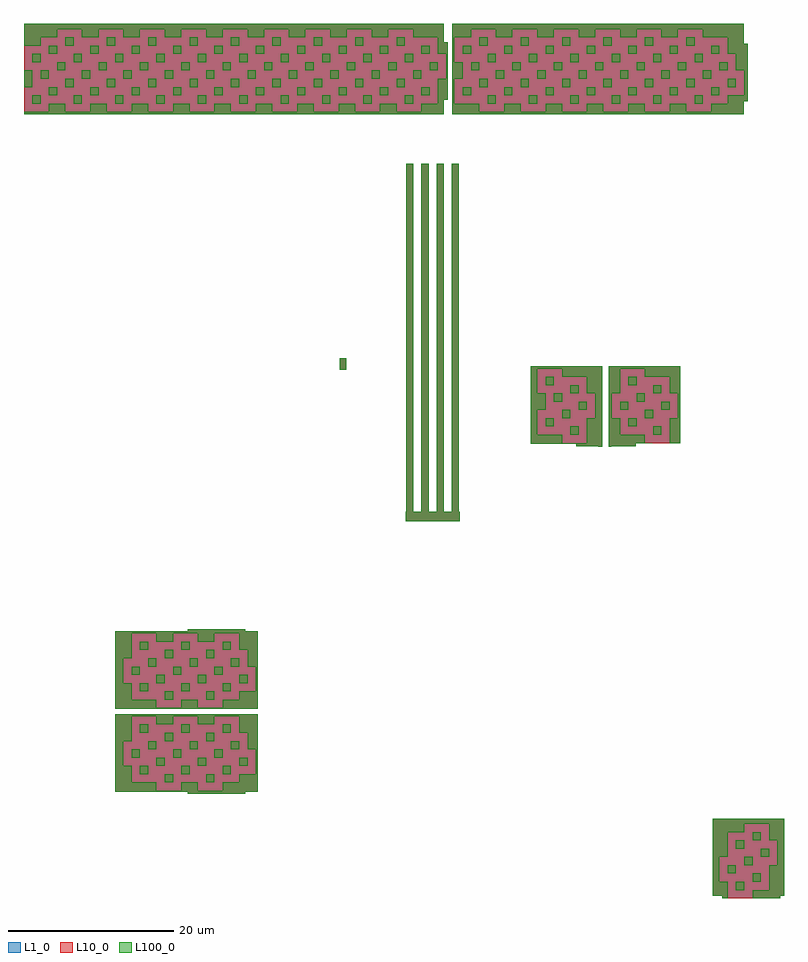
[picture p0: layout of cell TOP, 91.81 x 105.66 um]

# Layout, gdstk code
import gdstk
lib = gdstk.Library(unit=1e-6, precision=1e-09)
def R(c, l, rs):  # rectangles x0, y0, x1, y1
    for r in rs: c.add(gdstk.rectangle(r[:2], r[2:], *l))
def A(c, l, x, y, w, h, nx, ny, dx, dy):  # array of equal rectangles
    R(c, l, [(x+i*dx, y+j*dy, x+i*dx+w, y+j*dy+h) for i in range(nx) for j in range(ny)])
def P(c, l, *ps):  # polygons
    for p in ps: c.add(gdstk.Polygon(p, *l))
L1_0 = (1, 0)
L10_0 = (10, 0)
L100_0 = (100, 0)

pat1 = lib.new_cell('PAT1')
R(pat1, L100_0, [(0,0,1,1)])

top = lib.new_cell('TOP')
R(top, L1_0, [(38.14,63.84,38.95,65.24)])
P(top, L1_0, [(0,94.703),(0,105.656),(50.732,105.656),(50.732,103.431),(51.214,103.431),(51.214,96.462),(50.732,96.462),(50.732,94.703)],
  [(51.75,94.703),(51.75,105.656),(86.941,105.656),(86.941,103.259),(87.423,103.259),(87.423,96.29),(86.941,96.29),(86.941,94.703)],
  [(70.622,54.579),(70.622,64.274),(79.247,64.274),(79.247,54.959),(73.881,54.959),(73.881,54.614),(70.949,54.614),(70.949,54.579)],
  [(84.353,0),(84.353,0.311),(83.18,0.311),(83.18,9.626),(91.805,9.626),(91.805,0.311),(91.322,0.311),(91.322,0)],
  [(11.006,22.874),(11.006,32.24),(19.768,32.24),(19.768,32.499),(26.738,32.499),(26.738,32.24),(28.256,32.24),(28.256,22.874)],
  [(46.108,45.575),(46.108,46.679),(46.178,46.679),(46.178,88.734),(47.04,88.734),(47.04,46.679),(48.006,46.679),(48.006,88.734),(48.868,88.734),(48.868,46.679),(49.834,46.679),(49.834,88.734),(50.697,88.734),(50.697,46.679),(51.663,46.679),(51.663,88.734),(52.526,88.734),(52.526,46.679),(52.629,46.679),(52.629,45.575)],
  [(19.768,12.609),(19.768,12.869),(11.006,12.869),(11.006,22.235),(28.256,22.235),(28.256,12.869),(26.738,12.869),(26.738,12.609)],
  [(69.396,54.579),(69.396,54.614),(66.705,54.614),(66.705,54.906),(61.203,54.906),(61.203,64.274),(69.828,64.274),(69.828,54.579)])
R(top, L10_0, [(38.14,63.84,38.95,65.24)])
P(top, L10_0, [(0,94.703),(0,105.656),(50.732,105.656),(50.732,103.431),(51.214,103.431),(51.214,96.462),(50.732,96.462),(50.732,94.703)],
  [(51.75,94.703),(51.75,105.656),(86.941,105.656),(86.941,103.259),(87.423,103.259),(87.423,96.29),(86.941,96.29),(86.941,94.703)],
  [(70.622,54.579),(70.622,64.274),(79.247,64.274),(79.247,54.959),(73.881,54.959),(73.881,54.614),(70.949,54.614),(70.949,54.579)],
  [(84.353,0),(84.353,0.311),(83.18,0.311),(83.18,9.626),(91.805,9.626),(91.805,0.311),(91.322,0.311),(91.322,0)],
  [(11.006,22.874),(11.006,32.24),(19.768,32.24),(19.768,32.499),(26.738,32.499),(26.738,32.24),(28.256,32.24),(28.256,22.874)],
  [(46.108,45.575),(46.108,46.679),(46.178,46.679),(46.178,88.734),(47.04,88.734),(47.04,46.679),(48.006,46.679),(48.006,88.734),(48.868,88.734),(48.868,46.679),(49.834,46.679),(49.834,88.734),(50.697,88.734),(50.697,46.679),(51.663,46.679),(51.663,88.734),(52.526,88.734),(52.526,46.679),(52.629,46.679),(52.629,45.575)],
  [(19.768,12.609),(19.768,12.869),(11.006,12.869),(11.006,22.235),(28.256,22.235),(28.256,12.869),(26.738,12.869),(26.738,12.609)],
  [(69.396,54.579),(69.396,54.614),(66.705,54.614),(66.705,54.906),(61.203,54.906),(61.203,64.274),(69.828,64.274),(69.828,54.579)])
A(top, L100_0, 46.178, 50.328, 0.862, 5, 1, 7, 0, 5)
A(top, L100_0, 48.006, 50.328, 0.862, 5, 1, 7, 0, 5)
A(top, L100_0, 49.834, 50.328, 0.863, 5, 1, 7, 0, 5)
A(top, L100_0, 51.663, 50.328, 0.863, 5, 1, 7, 0, 5)
A(top, L100_0, 3, 95.328, 2, 0.672, 9, 1, 5, 0)
A(top, L100_0, 58, 95.328, 2, 0.672, 5, 1, 5, 0)
A(top, L100_0, 0.903, 105.328, 5, 0.328, 9, 1, 5, 0)
A(top, L100_0, 55.903, 105.328, 5, 0.328, 6, 1, 5, 0)
R(top, L100_0, [(88,0,90.903,0.328), (70.622,54.579,70.903,55.328), (70.622,55.328,70.903,60.328), (70.622,60.328,70.903,64.274), (38.14,63.84,38.95,65.24), (46.178,85.328,47.04,88.734), (48.006,85.328,48.868,88.734), (49.834,85.328,50.697,88.734), (51.663,85.328,52.526,88.734), (0,94.703,0.903,95), (85.903,94.703,86.941,95.328), (0,98,0.903,100), (0.903,98,1,100), (0,103,0.903,105.328), (0,105.328,0.903,105.656), (45.903,105.328,50.732,105.656), (51.75,105.328,55.903,105.656), (85.903,105.328,86.941,105.656)])
P(top, L100_0, [(40.903,94.703),(40.903,95),(43,95),(43,95.328),(45,95.328),(45,95),(45.903,95),(45.903,94.703)],
  [(42,104),(42,105),(40.903,105),(40.903,105.328),(45.903,105.328),(45.903,105),(44,105),(44,104)],
  [(45.903,94.703),(45.903,95),(48,95),(48,95.328),(50.732,95.328),(50.732,94.703)],
  [(48,95.328),(48,96),(50,96),(50,99),(50.903,99),(50.903,96.462),(50.732,96.462),(50.732,95.328)],
  [(50,102),(50,104),(47,104),(47,105),(45.903,105),(45.903,105.328),(50.732,105.328),(50.732,103.431),(50.903,103.431),(50.903,102)],
  [(51.75,94.703),(51.75,95.328),(55,95.328),(55,95),(55.903,95),(55.903,94.703)],
  [(50.903,96.462),(50.903,99),(51,99),(51,100.328),(51.214,100.328),(51.214,96.462)],
  [(51.75,95.328),(51.75,100.328),(53,100.328),(53,99),(52,99),(52,96),(55,96),(55,95.328)],
  [(51,100.328),(51,102),(50.903,102),(50.903,103.431),(51.214,103.431),(51.214,100.328)],
  [(51.75,100.328),(51.75,105.328),(55.903,105.328),(55.903,105),(54,105),(54,104),(52,104),(52,101),(53,101),(53,100.328)],
  [(55.903,94.703),(55.903,95),(58,95),(58,95.328),(60,95.328),(60,95),(60.903,95),(60.903,94.703)],
  [(57,104),(57,105),(55.903,105),(55.903,105.328),(60.903,105.328),(60.903,105),(59,105),(59,104)],
  [(61.203,54.906),(61.203,55.328),(65,55.328),(65,55),(65.903,55),(65.903,54.906)],
  [(61.203,55.328),(61.203,60.328),(63,60.328),(63,59),(62,59),(62,56),(65,56),(65,55.328)],
  [(61.203,60.328),(61.203,64.274),(65.903,64.274),(65.903,63),(65,63),(65,64),(62,64),(62,61),(63,61),(63,60.328)],
  [(60.903,94.703),(60.903,95),(63,95),(63,95.328),(65,95.328),(65,95),(65.903,95),(65.903,94.703)],
  [(62,104),(62,105),(60.903,105),(60.903,105.328),(65.903,105.328),(65.903,105),(64,105),(64,104)],
  [(69.396,54.579),(69.396,54.614),(66.705,54.614),(66.705,54.906),(65.903,54.906),(65.903,55),(68,55),(68,55.328),(69.828,55.328),(69.828,54.579)],
  [(68,55.328),(68,58),(69,58),(69,60.328),(69.828,60.328),(69.828,55.328)],
  [(69,60.328),(69,61),(68,61),(68,63),(65.903,63),(65.903,64.274),(69.828,64.274),(69.828,60.328)],
  [(65.903,94.703),(65.903,95),(68,95),(68,95.328),(70,95.328),(70,95),(70.903,95),(70.903,94.703)],
  [(67,104),(67,105),(65.903,105),(65.903,105.328),(70.903,105.328),(70.903,105),(69,105),(69,104)],
  [(70.903,54.579),(70.903,55.328),(75,55.328),(75,55),(75.903,55),(75.903,54.959),(73.881,54.959),(73.881,54.614),(70.949,54.614),(70.949,54.579)],
  [(70.903,55.328),(70.903,60.328),(71,60.328),(71,58),(72,58),(72,56),(75,56),(75,55.328)],
  [(70.903,60.328),(70.903,64.274),(75.903,64.274),(75.903,63),(75,63),(75,64),(72,64),(72,61),(71,61),(71,60.328)],
  [(70.903,94.703),(70.903,95),(73,95),(73,95.328),(75,95.328),(75,95),(75.903,95),(75.903,94.703)],
  [(72,104),(72,105),(70.903,105),(70.903,105.328),(75.903,105.328),(75.903,105),(74,105),(74,104)],
  [(75.903,54.959),(75.903,55),(78,55),(78,55.328),(79.247,55.328),(79.247,54.959)],
  [(78,55.328),(78,58),(79,58),(79,60.328),(79.247,60.328),(79.247,55.328)],
  [(79,60.328),(79,61),(78,61),(78,63),(75.903,63),(75.903,64.274),(79.247,64.274),(79.247,60.328)],
  [(75.903,94.703),(75.903,95),(78,95),(78,95.328),(80,95.328),(80,95),(80.903,95),(80.903,94.703)],
  [(77,104),(77,105),(75.903,105),(75.903,105.328),(80.903,105.328),(80.903,105),(79,105),(79,104)],
  [(80.903,94.703),(80.903,95),(83,95),(83,95.328),(85.903,95.328),(85.903,94.703)],
  [(83,95.328),(83,96),(85,96),(85,97),(85.903,97),(85.903,95.328)],
  [(85,102),(85,104),(82,104),(82,105),(80.903,105),(80.903,105.328),(85.903,105.328),(85.903,102)],
  [(85.903,95.328),(85.903,97),(87,97),(87,100),(86,100),(86,100.328),(87.423,100.328),(87.423,96.29),(86.941,96.29),(86.941,95.328)],
  [(86,100.328),(86,102),(85.903,102),(85.903,105.328),(86.941,105.328),(86.941,103.259),(87.423,103.259),(87.423,100.328)],
  [(7,104),(7,105),(5.903,105),(5.903,105.328),(10.903,105.328),(10.903,105),(9,105),(9,104)],
  [(10.903,94.703),(10.903,95),(13,95),(13,95.328),(15,95.328),(15,95),(15.903,95),(15.903,94.703)],
  [(12,104),(12,105),(10.903,105),(10.903,105.328),(15.903,105.328),(15.903,105),(14,105),(14,104)],
  [(15.903,94.703),(15.903,95),(18,95),(18,95.328),(20,95.328),(20,95),(20.903,95),(20.903,94.703)],
  [(17,104),(17,105),(15.903,105),(15.903,105.328),(20.903,105.328),(20.903,105),(19,105),(19,104)],
  [(20.903,94.703),(20.903,95),(23,95),(23,95.328),(25,95.328),(25,95),(25.903,95),(25.903,94.703)],
  [(22,104),(22,105),(20.903,105),(20.903,105.328),(25.903,105.328),(25.903,105),(24,105),(24,104)],
  [(25.903,94.703),(25.903,95),(28,95),(28,95.328),(30,95.328),(30,95),(30.903,95),(30.903,94.703)],
  [(27,104),(27,105),(25.903,105),(25.903,105.328),(30.903,105.328),(30.903,105),(29,105),(29,104)],
  [(30.903,94.703),(30.903,95),(33,95),(33,95.328),(35,95.328),(35,95),(35.903,95),(35.903,94.703)],
  [(32,104),(32,105),(30.903,105),(30.903,105.328),(35.903,105.328),(35.903,105),(34,105),(34,104)],
  [(35.903,94.703),(35.903,95),(38,95),(38,95.328),(40,95.328),(40,95),(40.903,95),(40.903,94.703)],
  [(37,104),(37,105),(35.903,105),(35.903,105.328),(40.903,105.328),(40.903,105),(39,105),(39,104)],
  [(0.903,94.703),(0.903,95),(3,95),(3,95.328),(5,95.328),(5,95),(5.903,95),(5.903,94.703)],
  [(0.903,103),(0.903,105.328),(5.903,105.328),(5.903,105),(4,105),(4,104),(2,104),(2,103)],
  [(5.903,94.703),(5.903,95),(8,95),(8,95.328),(10,95.328),(10,95),(10.903,95),(10.903,94.703)],
  [(11.006,25.328),(11.006,30.328),(13,30.328),(13,29),(12,29),(12,26),(13,26),(13,25.328)],
  [(11.006,30.328),(11.006,32.24),(15.903,32.24),(15.903,32),(13,32),(13,30.328)],
  [(11.006,12.869),(11.006,15.328),(13,15.328),(13,14),(15.903,14),(15.903,12.869)],
  [(11.006,15.328),(11.006,20.328),(13,20.328),(13,19),(12,19),(12,16),(13,16),(13,15.328)],
  [(20.903,12.609),(20.903,14),(21,14),(21,13),(24,13),(24,14),(25.903,14),(25.903,12.609)],
  [(21,21),(21,22),(20.903,22),(20.903,22.235),(25.903,22.235),(25.903,22),(23,22),(23,21)],
  [(20.903,22.874),(20.903,24),(21,24),(21,23),(24,23),(24,24),(25.903,24),(25.903,22.874)],
  [(21,31),(21,32),(20.903,32),(20.903,32.499),(25.903,32.499),(25.903,32),(23,32),(23,31)],
  [(11.006,20.328),(11.006,22.235),(15.903,22.235),(15.903,22),(13,22),(13,20.328)],
  [(11.006,22.874),(11.006,25.328),(13,25.328),(13,24),(15.903,24),(15.903,22.874)],
  [(19.768,12.609),(19.768,12.869),(15.903,12.869),(15.903,14),(16,14),(16,13),(19,13),(19,14),(20.903,14),(20.903,12.609)],
  [(16,21),(16,22),(15.903,22),(15.903,22.235),(20.903,22.235),(20.903,22),(18,22),(18,21)],
  [(25.903,12.609),(25.903,14),(26,14),(26,15),(28,15),(28,15.328),(28.256,15.328),(28.256,12.869),(26.738,12.869),(26.738,12.609)],
  [(28,15.328),(28,18),(27,18),(27,20),(26,20),(26,20.328),(28.256,20.328),(28.256,15.328)],
  [(26,20.328),(26,22),(25.903,22),(25.903,22.235),(28.256,22.235),(28.256,20.328)],
  [(25.903,22.874),(25.903,24),(26,24),(26,25),(28,25),(28,25.328),(28.256,25.328),(28.256,22.874)],
  [(28,25.328),(28,28),(27,28),(27,30),(26,30),(26,30.328),(28.256,30.328),(28.256,25.328)],
  [(26,30.328),(26,32),(25.903,32),(25.903,32.499),(26.738,32.499),(26.738,32.24),(28.256,32.24),(28.256,30.328)],
  [(15.903,22.874),(15.903,24),(16,24),(16,23),(19,23),(19,24),(20.903,24),(20.903,22.874)],
  [(16,31),(16,32),(15.903,32),(15.903,32.24),(19.768,32.24),(19.768,32.499),(20.903,32.499),(20.903,32),(18,32),(18,31)],
  [(83.18,0.328),(83.18,5.328),(85,5.328),(85,5),(84,5),(84,2),(85,2),(85,0.328)],
  [(88,0.328),(88,1),(90,1),(90,4),(90.903,4),(90.903,0.328)],
  [(90,7),(90,9),(87,9),(87,8),(85.903,8),(85.903,9.626),(90.903,9.626),(90.903,7)],
  [(83.18,5.328),(83.18,9.626),(85.903,9.626),(85.903,8),(85,8),(85,5.328)],
  [(50.903,45.575),(50.903,46.679),(51.663,46.679),(51.663,50.328),(52.526,50.328),(52.526,46.679),(52.629,46.679),(52.629,45.575)],
  [(46.108,45.575),(46.108,46.679),(46.178,46.679),(46.178,50.328),(47.04,50.328),(47.04,46.679),(48.006,46.679),(48.006,50.328),(48.868,50.328),(48.868,46.679),(49.834,46.679),(49.834,50.328),(50.697,50.328),(50.697,46.679),(50.903,46.679),(50.903,45.575)],
  [(84.353,0),(84.353,0.311),(83.18,0.311),(83.18,0.328),(85,0.328),(85,0)],
  [(90.903,0),(90.903,0.328),(91.805,0.328),(91.805,0.311),(91.322,0.311),(91.322,0)],
  [(90.903,0.328),(90.903,4),(91,4),(91,5.328),(91.805,5.328),(91.805,0.328)],
  [(91,5.328),(91,7),(90.903,7),(90.903,9.626),(91.805,9.626),(91.805,5.328)])
r = gdstk.Reference(pat1, (41,96)); r.repetition = gdstk.Repetition(2, 1, v1=(5,0), v2=(0,0)); top.add(r)
r = gdstk.Reference(pat1, (41,96)); r.repetition = gdstk.Repetition(2, 2, v1=(5,0), v2=(0,5)); top.add(r)
r = gdstk.Reference(pat1, (40,98)); r.repetition = gdstk.Repetition(2, 1, v1=(5,0), v2=(0,0)); top.add(r)
r = gdstk.Reference(pat1, (41,101)); r.repetition = gdstk.Repetition(2, 1, v1=(5,0), v2=(0,0)); top.add(r)
r = gdstk.Reference(pat1, (40,103)); r.repetition = gdstk.Repetition(2, 1, v1=(5,0), v2=(0,0)); top.add(r)
top.add(gdstk.Reference(pat1, (45,98)))
r = gdstk.Reference(pat1, (44,100)); r.repetition = gdstk.Repetition(2, 1, v1=(5,0), v2=(0,0)); top.add(r)
top.add(gdstk.Reference(pat1, (45,103)))
r = gdstk.Reference(pat1, (44,100)); r.repetition = gdstk.Repetition(2, 1, v1=(5,0), v2=(0,0)); top.add(r)
top.add(gdstk.Reference(pat1, (67,59)))
top.add(gdstk.Reference(pat1, (67,59)))
r = gdstk.Reference(pat1, (66,96)); r.repetition = gdstk.Repetition(2, 1, v1=(5,0), v2=(0,0)); top.add(r)
r = gdstk.Reference(pat1, (66,96)); r.repetition = gdstk.Repetition(2, 2, v1=(5,0), v2=(0,5)); top.add(r)
r = gdstk.Reference(pat1, (65,98)); r.repetition = gdstk.Repetition(2, 1, v1=(5,0), v2=(0,0)); top.add(r)
top.add(gdstk.Reference(pat1, (67,99)))
r = gdstk.Reference(pat1, (64,100)); r.repetition = gdstk.Repetition(2, 1, v1=(5,0), v2=(0,0)); top.add(r)
r = gdstk.Reference(pat1, (66,101)); r.repetition = gdstk.Repetition(2, 1, v1=(5,0), v2=(0,0)); top.add(r)
r = gdstk.Reference(pat1, (65,103)); r.repetition = gdstk.Repetition(2, 1, v1=(5,0), v2=(0,0)); top.add(r)
top.add(gdstk.Reference(pat1, (67,99)))
r = gdstk.Reference(pat1, (64,100)); r.repetition = gdstk.Repetition(2, 1, v1=(5,0), v2=(0,0)); top.add(r)
top.add(gdstk.Reference(pat1, (68,102)))
top.add(gdstk.Reference(pat1, (68,97)))
r = gdstk.Reference(pat1, (71,96)); r.repetition = gdstk.Repetition(2, 1, v1=(5,0), v2=(0,0)); top.add(r)
r = gdstk.Reference(pat1, (71,96)); r.repetition = gdstk.Repetition(2, 2, v1=(5,0), v2=(0,5)); top.add(r)
top.add(gdstk.Reference(pat1, (73,97)))
r = gdstk.Reference(pat1, (70,98)); r.repetition = gdstk.Repetition(2, 1, v1=(5,0), v2=(0,0)); top.add(r)
top.add(gdstk.Reference(pat1, (72,99)))
r = gdstk.Reference(pat1, (69,100)); r.repetition = gdstk.Repetition(2, 1, v1=(5,0), v2=(0,0)); top.add(r)
r = gdstk.Reference(pat1, (71,101)); r.repetition = gdstk.Repetition(2, 1, v1=(5,0), v2=(0,0)); top.add(r)
top.add(gdstk.Reference(pat1, (73,102)))
r = gdstk.Reference(pat1, (70,103)); r.repetition = gdstk.Repetition(2, 1, v1=(5,0), v2=(0,0)); top.add(r)
top.add(gdstk.Reference(pat1, (72,99)))
r = gdstk.Reference(pat1, (69,100)); r.repetition = gdstk.Repetition(2, 1, v1=(5,0), v2=(0,0)); top.add(r)
r = gdstk.Reference(pat1, (76,96)); r.repetition = gdstk.Repetition(2, 1, v1=(5,0), v2=(0,0)); top.add(r)
r = gdstk.Reference(pat1, (76,96)); r.repetition = gdstk.Repetition(2, 2, v1=(5,0), v2=(0,5)); top.add(r)
top.add(gdstk.Reference(pat1, (78,97)))
r = gdstk.Reference(pat1, (75,98)); r.repetition = gdstk.Repetition(2, 1, v1=(5,0), v2=(0,0)); top.add(r)
top.add(gdstk.Reference(pat1, (77,99)))
r = gdstk.Reference(pat1, (74,100)); r.repetition = gdstk.Repetition(2, 1, v1=(5,0), v2=(0,0)); top.add(r)
r = gdstk.Reference(pat1, (76,101)); r.repetition = gdstk.Repetition(2, 1, v1=(5,0), v2=(0,0)); top.add(r)
top.add(gdstk.Reference(pat1, (78,102)))
r = gdstk.Reference(pat1, (75,103)); r.repetition = gdstk.Repetition(2, 1, v1=(5,0), v2=(0,0)); top.add(r)
top.add(gdstk.Reference(pat1, (77,99)))
r = gdstk.Reference(pat1, (74,100)); r.repetition = gdstk.Repetition(2, 1, v1=(5,0), v2=(0,0)); top.add(r)
top.add(gdstk.Reference(pat1, (81,96)))
r = gdstk.Reference(pat1, (81,96)); r.repetition = gdstk.Repetition(1, 2, v1=(0,0), v2=(0,5)); top.add(r)
top.add(gdstk.Reference(pat1, (83,97)))
r = gdstk.Reference(pat1, (80,98)); r.repetition = gdstk.Repetition(2, 1, v1=(5,0), v2=(0,0)); top.add(r)
top.add(gdstk.Reference(pat1, (82,99)))
r = gdstk.Reference(pat1, (79,100)); r.repetition = gdstk.Repetition(2, 1, v1=(5,0), v2=(0,0)); top.add(r)
top.add(gdstk.Reference(pat1, (81,101)))
top.add(gdstk.Reference(pat1, (83,102)))
top.add(gdstk.Reference(pat1, (80,103)))
top.add(gdstk.Reference(pat1, (82,99)))
r = gdstk.Reference(pat1, (79,100)); r.repetition = gdstk.Repetition(2, 1, v1=(5,0), v2=(0,0)); top.add(r)
top.add(gdstk.Reference(pat1, (85,98)))
top.add(gdstk.Reference(pat1, (84,100)))
top.add(gdstk.Reference(pat1, (84,100)))
r = gdstk.Reference(pat1, (56,96)); r.repetition = gdstk.Repetition(1, 2, v1=(0,0), v2=(0,5)); top.add(r)
top.add(gdstk.Reference(pat1, (53,97)))
top.add(gdstk.Reference(pat1, (55,98)))
top.add(gdstk.Reference(pat1, (54,100)))
top.add(gdstk.Reference(pat1, (49,100)))
top.add(gdstk.Reference(pat1, (56,101)))
top.add(gdstk.Reference(pat1, (53,102)))
top.add(gdstk.Reference(pat1, (55,103)))
top.add(gdstk.Reference(pat1, (54,100)))
r = gdstk.Reference(pat1, (56,96)); r.repetition = gdstk.Repetition(2, 1, v1=(5,0), v2=(0,0)); top.add(r)
r = gdstk.Reference(pat1, (56,96)); r.repetition = gdstk.Repetition(2, 2, v1=(5,0), v2=(0,5)); top.add(r)
top.add(gdstk.Reference(pat1, (58,97)))
r = gdstk.Reference(pat1, (55,98)); r.repetition = gdstk.Repetition(2, 1, v1=(5,0), v2=(0,0)); top.add(r)
top.add(gdstk.Reference(pat1, (57,99)))
r = gdstk.Reference(pat1, (54,100)); r.repetition = gdstk.Repetition(2, 1, v1=(5,0), v2=(0,0)); top.add(r)
r = gdstk.Reference(pat1, (56,101)); r.repetition = gdstk.Repetition(2, 1, v1=(5,0), v2=(0,0)); top.add(r)
top.add(gdstk.Reference(pat1, (58,102)))
r = gdstk.Reference(pat1, (55,103)); r.repetition = gdstk.Repetition(2, 1, v1=(5,0), v2=(0,0)); top.add(r)
top.add(gdstk.Reference(pat1, (57,99)))
r = gdstk.Reference(pat1, (54,100)); r.repetition = gdstk.Repetition(2, 1, v1=(5,0), v2=(0,0)); top.add(r)
r = gdstk.Reference(pat1, (61,96)); r.repetition = gdstk.Repetition(2, 1, v1=(5,0), v2=(0,0)); top.add(r)
r = gdstk.Reference(pat1, (61,96)); r.repetition = gdstk.Repetition(2, 2, v1=(5,0), v2=(0,5)); top.add(r)
top.add(gdstk.Reference(pat1, (63,97)))
r = gdstk.Reference(pat1, (60,98)); r.repetition = gdstk.Repetition(2, 1, v1=(5,0), v2=(0,0)); top.add(r)
top.add(gdstk.Reference(pat1, (62,99)))
r = gdstk.Reference(pat1, (59,100)); r.repetition = gdstk.Repetition(2, 1, v1=(5,0), v2=(0,0)); top.add(r)
r = gdstk.Reference(pat1, (61,101)); r.repetition = gdstk.Repetition(2, 1, v1=(5,0), v2=(0,0)); top.add(r)
top.add(gdstk.Reference(pat1, (63,102)))
r = gdstk.Reference(pat1, (60,103)); r.repetition = gdstk.Repetition(2, 1, v1=(5,0), v2=(0,0)); top.add(r)
top.add(gdstk.Reference(pat1, (62,99)))
r = gdstk.Reference(pat1, (59,100)); r.repetition = gdstk.Repetition(2, 1, v1=(5,0), v2=(0,0)); top.add(r)
top.add(gdstk.Reference(pat1, (47,99)))
r = gdstk.Reference(pat1, (46,96)); r.repetition = gdstk.Repetition(1, 2, v1=(0,0), v2=(0,5)); top.add(r)
top.add(gdstk.Reference(pat1, (46,101)))
top.add(gdstk.Reference(pat1, (48,102)))
top.add(gdstk.Reference(pat1, (48,97)))
top.add(gdstk.Reference(pat1, (47,99)))
top.add(gdstk.Reference(pat1, (46,96)))
top.add(gdstk.Reference(pat1, (56,96)))
top.add(gdstk.Reference(pat1, (49,100)))
top.add(gdstk.Reference(pat1, (63,57)))
top.add(gdstk.Reference(pat1, (66,56)))
r = gdstk.Reference(pat1, (66,56)); r.repetition = gdstk.Repetition(1, 2, v1=(0,0), v2=(0,5)); top.add(r)
top.add(gdstk.Reference(pat1, (65,58)))
top.add(gdstk.Reference(pat1, (65,58)))
top.add(gdstk.Reference(pat1, (64,60)))
top.add(gdstk.Reference(pat1, (66,61)))
top.add(gdstk.Reference(pat1, (64,60)))
top.add(gdstk.Reference(pat1, (64,60)))
top.add(gdstk.Reference(pat1, (66,61)))
top.add(gdstk.Reference(pat1, (63,62)))
top.add(gdstk.Reference(pat1, (64,60)))
top.add(gdstk.Reference(pat1, (66,56)))
r = gdstk.Reference(pat1, (66,56)); r.repetition = gdstk.Repetition(1, 2, v1=(0,0), v2=(0,5)); top.add(r)
top.add(gdstk.Reference(pat1, (72,59)))
top.add(gdstk.Reference(pat1, (74,60)))
top.add(gdstk.Reference(pat1, (76,56)))
top.add(gdstk.Reference(pat1, (76,56)))
r = gdstk.Reference(pat1, (76,56)); r.repetition = gdstk.Repetition(1, 2, v1=(0,0), v2=(0,5)); top.add(r)
top.add(gdstk.Reference(pat1, (75,58)))
top.add(gdstk.Reference(pat1, (77,59)))
top.add(gdstk.Reference(pat1, (74,60)))
top.add(gdstk.Reference(pat1, (76,61)))
top.add(gdstk.Reference(pat1, (77,59)))
top.add(gdstk.Reference(pat1, (74,60)))
r = gdstk.Reference(pat1, (76,56)); r.repetition = gdstk.Repetition(1, 2, v1=(0,0), v2=(0,5)); top.add(r)
top.add(gdstk.Reference(pat1, (73,57)))
top.add(gdstk.Reference(pat1, (75,58)))
top.add(gdstk.Reference(pat1, (72,59)))
top.add(gdstk.Reference(pat1, (74,60)))
top.add(gdstk.Reference(pat1, (76,61)))
top.add(gdstk.Reference(pat1, (73,62)))
r = gdstk.Reference(pat1, (10,103)); r.repetition = gdstk.Repetition(2, 1, v1=(5,0), v2=(0,0)); top.add(r)
top.add(gdstk.Reference(pat1, (12,99)))
r = gdstk.Reference(pat1, (9,100)); r.repetition = gdstk.Repetition(2, 1, v1=(5,0), v2=(0,0)); top.add(r)
r = gdstk.Reference(pat1, (16,96)); r.repetition = gdstk.Repetition(2, 1, v1=(5,0), v2=(0,0)); top.add(r)
r = gdstk.Reference(pat1, (16,96)); r.repetition = gdstk.Repetition(2, 2, v1=(5,0), v2=(0,5)); top.add(r)
top.add(gdstk.Reference(pat1, (18,97)))
r = gdstk.Reference(pat1, (15,98)); r.repetition = gdstk.Repetition(2, 1, v1=(5,0), v2=(0,0)); top.add(r)
top.add(gdstk.Reference(pat1, (17,99)))
r = gdstk.Reference(pat1, (14,100)); r.repetition = gdstk.Repetition(2, 1, v1=(5,0), v2=(0,0)); top.add(r)
r = gdstk.Reference(pat1, (16,101)); r.repetition = gdstk.Repetition(2, 1, v1=(5,0), v2=(0,0)); top.add(r)
top.add(gdstk.Reference(pat1, (18,102)))
r = gdstk.Reference(pat1, (15,103)); r.repetition = gdstk.Repetition(2, 1, v1=(5,0), v2=(0,0)); top.add(r)
top.add(gdstk.Reference(pat1, (17,99)))
r = gdstk.Reference(pat1, (14,100)); r.repetition = gdstk.Repetition(2, 1, v1=(5,0), v2=(0,0)); top.add(r)
r = gdstk.Reference(pat1, (21,96)); r.repetition = gdstk.Repetition(2, 1, v1=(5,0), v2=(0,0)); top.add(r)
r = gdstk.Reference(pat1, (21,96)); r.repetition = gdstk.Repetition(2, 2, v1=(5,0), v2=(0,5)); top.add(r)
top.add(gdstk.Reference(pat1, (23,97)))
r = gdstk.Reference(pat1, (20,98)); r.repetition = gdstk.Repetition(2, 1, v1=(5,0), v2=(0,0)); top.add(r)
top.add(gdstk.Reference(pat1, (22,99)))
r = gdstk.Reference(pat1, (19,100)); r.repetition = gdstk.Repetition(2, 1, v1=(5,0), v2=(0,0)); top.add(r)
r = gdstk.Reference(pat1, (21,101)); r.repetition = gdstk.Repetition(2, 1, v1=(5,0), v2=(0,0)); top.add(r)
top.add(gdstk.Reference(pat1, (23,102)))
r = gdstk.Reference(pat1, (20,103)); r.repetition = gdstk.Repetition(2, 1, v1=(5,0), v2=(0,0)); top.add(r)
top.add(gdstk.Reference(pat1, (22,99)))
r = gdstk.Reference(pat1, (19,100)); r.repetition = gdstk.Repetition(2, 1, v1=(5,0), v2=(0,0)); top.add(r)
r = gdstk.Reference(pat1, (26,96)); r.repetition = gdstk.Repetition(2, 1, v1=(5,0), v2=(0,0)); top.add(r)
r = gdstk.Reference(pat1, (26,96)); r.repetition = gdstk.Repetition(2, 2, v1=(5,0), v2=(0,5)); top.add(r)
top.add(gdstk.Reference(pat1, (28,97)))
r = gdstk.Reference(pat1, (25,98)); r.repetition = gdstk.Repetition(2, 1, v1=(5,0), v2=(0,0)); top.add(r)
top.add(gdstk.Reference(pat1, (27,99)))
r = gdstk.Reference(pat1, (24,100)); r.repetition = gdstk.Repetition(2, 1, v1=(5,0), v2=(0,0)); top.add(r)
r = gdstk.Reference(pat1, (26,101)); r.repetition = gdstk.Repetition(2, 1, v1=(5,0), v2=(0,0)); top.add(r)
top.add(gdstk.Reference(pat1, (28,102)))
r = gdstk.Reference(pat1, (25,103)); r.repetition = gdstk.Repetition(2, 1, v1=(5,0), v2=(0,0)); top.add(r)
top.add(gdstk.Reference(pat1, (27,99)))
r = gdstk.Reference(pat1, (24,100)); r.repetition = gdstk.Repetition(2, 1, v1=(5,0), v2=(0,0)); top.add(r)
r = gdstk.Reference(pat1, (31,96)); r.repetition = gdstk.Repetition(2, 1, v1=(5,0), v2=(0,0)); top.add(r)
r = gdstk.Reference(pat1, (31,96)); r.repetition = gdstk.Repetition(2, 2, v1=(5,0), v2=(0,5)); top.add(r)
top.add(gdstk.Reference(pat1, (33,97)))
r = gdstk.Reference(pat1, (30,98)); r.repetition = gdstk.Repetition(2, 1, v1=(5,0), v2=(0,0)); top.add(r)
top.add(gdstk.Reference(pat1, (32,99)))
r = gdstk.Reference(pat1, (29,100)); r.repetition = gdstk.Repetition(2, 1, v1=(5,0), v2=(0,0)); top.add(r)
r = gdstk.Reference(pat1, (31,101)); r.repetition = gdstk.Repetition(2, 1, v1=(5,0), v2=(0,0)); top.add(r)
top.add(gdstk.Reference(pat1, (33,102)))
r = gdstk.Reference(pat1, (30,103)); r.repetition = gdstk.Repetition(2, 1, v1=(5,0), v2=(0,0)); top.add(r)
top.add(gdstk.Reference(pat1, (32,99)))
r = gdstk.Reference(pat1, (29,100)); r.repetition = gdstk.Repetition(2, 1, v1=(5,0), v2=(0,0)); top.add(r)
r = gdstk.Reference(pat1, (36,96)); r.repetition = gdstk.Repetition(2, 1, v1=(5,0), v2=(0,0)); top.add(r)
r = gdstk.Reference(pat1, (36,96)); r.repetition = gdstk.Repetition(2, 2, v1=(5,0), v2=(0,5)); top.add(r)
top.add(gdstk.Reference(pat1, (38,97)))
r = gdstk.Reference(pat1, (35,98)); r.repetition = gdstk.Repetition(2, 1, v1=(5,0), v2=(0,0)); top.add(r)
top.add(gdstk.Reference(pat1, (37,99)))
r = gdstk.Reference(pat1, (34,100)); r.repetition = gdstk.Repetition(2, 1, v1=(5,0), v2=(0,0)); top.add(r)
r = gdstk.Reference(pat1, (36,101)); r.repetition = gdstk.Repetition(2, 1, v1=(5,0), v2=(0,0)); top.add(r)
top.add(gdstk.Reference(pat1, (38,102)))
r = gdstk.Reference(pat1, (35,103)); r.repetition = gdstk.Repetition(2, 1, v1=(5,0), v2=(0,0)); top.add(r)
top.add(gdstk.Reference(pat1, (37,99)))
r = gdstk.Reference(pat1, (34,100)); r.repetition = gdstk.Repetition(2, 1, v1=(5,0), v2=(0,0)); top.add(r)
top.add(gdstk.Reference(pat1, (1,96)))
r = gdstk.Reference(pat1, (1,96)); r.repetition = gdstk.Repetition(1, 2, v1=(0,0), v2=(0,5)); top.add(r)
top.add(gdstk.Reference(pat1, (43,97)))
top.add(gdstk.Reference(pat1, (1,101)))
top.add(gdstk.Reference(pat1, (42,99)))
r = gdstk.Reference(pat1, (39,100)); r.repetition = gdstk.Repetition(2, 1, v1=(5,0), v2=(0,0)); top.add(r)
r = gdstk.Reference(pat1, (1,96)); r.repetition = gdstk.Repetition(2, 1, v1=(5,0), v2=(0,0)); top.add(r)
top.add(gdstk.Reference(pat1, (43,102)))
r = gdstk.Reference(pat1, (1,96)); r.repetition = gdstk.Repetition(2, 2, v1=(5,0), v2=(0,5)); top.add(r)
top.add(gdstk.Reference(pat1, (42,99)))
r = gdstk.Reference(pat1, (39,100)); r.repetition = gdstk.Repetition(2, 1, v1=(5,0), v2=(0,0)); top.add(r)
top.add(gdstk.Reference(pat1, (3,97)))
top.add(gdstk.Reference(pat1, (5,98)))
top.add(gdstk.Reference(pat1, (2,99)))
top.add(gdstk.Reference(pat1, (4,100)))
r = gdstk.Reference(pat1, (1,101)); r.repetition = gdstk.Repetition(2, 1, v1=(5,0), v2=(0,0)); top.add(r)
top.add(gdstk.Reference(pat1, (3,102)))
top.add(gdstk.Reference(pat1, (5,103)))
top.add(gdstk.Reference(pat1, (2,99)))
top.add(gdstk.Reference(pat1, (4,100)))
r = gdstk.Reference(pat1, (6,96)); r.repetition = gdstk.Repetition(2, 1, v1=(5,0), v2=(0,0)); top.add(r)
r = gdstk.Reference(pat1, (6,96)); r.repetition = gdstk.Repetition(2, 2, v1=(5,0), v2=(0,5)); top.add(r)
top.add(gdstk.Reference(pat1, (8,97)))
r = gdstk.Reference(pat1, (5,98)); r.repetition = gdstk.Repetition(2, 1, v1=(5,0), v2=(0,0)); top.add(r)
top.add(gdstk.Reference(pat1, (7,99)))
r = gdstk.Reference(pat1, (4,100)); r.repetition = gdstk.Repetition(2, 1, v1=(5,0), v2=(0,0)); top.add(r)
r = gdstk.Reference(pat1, (6,101)); r.repetition = gdstk.Repetition(2, 1, v1=(5,0), v2=(0,0)); top.add(r)
top.add(gdstk.Reference(pat1, (8,102)))
r = gdstk.Reference(pat1, (5,103)); r.repetition = gdstk.Repetition(2, 1, v1=(5,0), v2=(0,0)); top.add(r)
top.add(gdstk.Reference(pat1, (7,99)))
r = gdstk.Reference(pat1, (4,100)); r.repetition = gdstk.Repetition(2, 1, v1=(5,0), v2=(0,0)); top.add(r)
r = gdstk.Reference(pat1, (11,96)); r.repetition = gdstk.Repetition(2, 1, v1=(5,0), v2=(0,0)); top.add(r)
r = gdstk.Reference(pat1, (11,96)); r.repetition = gdstk.Repetition(2, 2, v1=(5,0), v2=(0,5)); top.add(r)
top.add(gdstk.Reference(pat1, (13,97)))
r = gdstk.Reference(pat1, (10,98)); r.repetition = gdstk.Repetition(2, 1, v1=(5,0), v2=(0,0)); top.add(r)
top.add(gdstk.Reference(pat1, (12,99)))
r = gdstk.Reference(pat1, (9,100)); r.repetition = gdstk.Repetition(2, 1, v1=(5,0), v2=(0,0)); top.add(r)
r = gdstk.Reference(pat1, (11,101)); r.repetition = gdstk.Repetition(2, 1, v1=(5,0), v2=(0,0)); top.add(r)
top.add(gdstk.Reference(pat1, (13,102)))
top.add(gdstk.Reference(pat1, (23,27)))
r = gdstk.Reference(pat1, (20,28)); r.repetition = gdstk.Repetition(2, 1, v1=(5,0), v2=(0,0)); top.add(r)
r = gdstk.Reference(pat1, (22,24)); r.repetition = gdstk.Repetition(1, 2, v1=(0,0), v2=(0,5)); top.add(r)
r = gdstk.Reference(pat1, (19,25)); r.repetition = gdstk.Repetition(2, 2, v1=(5,0), v2=(0,5)); top.add(r)
top.add(gdstk.Reference(pat1, (22,29)))
r = gdstk.Reference(pat1, (19,30)); r.repetition = gdstk.Repetition(2, 1, v1=(5,0), v2=(0,0)); top.add(r)
top.add(gdstk.Reference(pat1, (14,25)))
top.add(gdstk.Reference(pat1, (16,26)))
top.add(gdstk.Reference(pat1, (13,27)))
r = gdstk.Reference(pat1, (16,16)); r.repetition = gdstk.Repetition(2, 1, v1=(5,0), v2=(0,0)); top.add(r)
top.add(gdstk.Reference(pat1, (17,14)))
r = gdstk.Reference(pat1, (14,15)); r.repetition = gdstk.Repetition(2, 1, v1=(5,0), v2=(0,0)); top.add(r)
r = gdstk.Reference(pat1, (16,16)); r.repetition = gdstk.Repetition(2, 1, v1=(5,0), v2=(0,0)); top.add(r)
top.add(gdstk.Reference(pat1, (18,17)))
r = gdstk.Reference(pat1, (15,18)); r.repetition = gdstk.Repetition(2, 1, v1=(5,0), v2=(0,0)); top.add(r)
r = gdstk.Reference(pat1, (17,14)); r.repetition = gdstk.Repetition(1, 2, v1=(0,0), v2=(0,5)); top.add(r)
r = gdstk.Reference(pat1, (14,15)); r.repetition = gdstk.Repetition(2, 2, v1=(5,0), v2=(0,5)); top.add(r)
top.add(gdstk.Reference(pat1, (26,16)))
top.add(gdstk.Reference(pat1, (24,15)))
top.add(gdstk.Reference(pat1, (26,16)))
top.add(gdstk.Reference(pat1, (25,18)))
r = gdstk.Reference(pat1, (24,15)); r.repetition = gdstk.Repetition(1, 2, v1=(0,0), v2=(0,5)); top.add(r)
top.add(gdstk.Reference(pat1, (24,20)))
top.add(gdstk.Reference(pat1, (26,26)))
top.add(gdstk.Reference(pat1, (24,25)))
top.add(gdstk.Reference(pat1, (26,26)))
top.add(gdstk.Reference(pat1, (25,28)))
r = gdstk.Reference(pat1, (24,25)); r.repetition = gdstk.Repetition(1, 2, v1=(0,0), v2=(0,5)); top.add(r)
top.add(gdstk.Reference(pat1, (24,30)))
top.add(gdstk.Reference(pat1, (17,19)))
r = gdstk.Reference(pat1, (14,20)); r.repetition = gdstk.Repetition(2, 1, v1=(5,0), v2=(0,0)); top.add(r)
r = gdstk.Reference(pat1, (16,26)); r.repetition = gdstk.Repetition(2, 1, v1=(5,0), v2=(0,0)); top.add(r)
top.add(gdstk.Reference(pat1, (17,24)))
r = gdstk.Reference(pat1, (14,25)); r.repetition = gdstk.Repetition(2, 1, v1=(5,0), v2=(0,0)); top.add(r)
r = gdstk.Reference(pat1, (16,26)); r.repetition = gdstk.Repetition(2, 1, v1=(5,0), v2=(0,0)); top.add(r)
top.add(gdstk.Reference(pat1, (18,27)))
r = gdstk.Reference(pat1, (15,28)); r.repetition = gdstk.Repetition(2, 1, v1=(5,0), v2=(0,0)); top.add(r)
r = gdstk.Reference(pat1, (17,24)); r.repetition = gdstk.Repetition(1, 2, v1=(0,0), v2=(0,5)); top.add(r)
r = gdstk.Reference(pat1, (14,25)); r.repetition = gdstk.Repetition(2, 2, v1=(5,0), v2=(0,5)); top.add(r)
top.add(gdstk.Reference(pat1, (17,29)))
r = gdstk.Reference(pat1, (14,30)); r.repetition = gdstk.Repetition(2, 1, v1=(5,0), v2=(0,0)); top.add(r)
top.add(gdstk.Reference(pat1, (15,28)))
r = gdstk.Reference(pat1, (14,25)); r.repetition = gdstk.Repetition(1, 2, v1=(0,0), v2=(0,5)); top.add(r)
top.add(gdstk.Reference(pat1, (14,30)))
top.add(gdstk.Reference(pat1, (16,16)))
top.add(gdstk.Reference(pat1, (14,15)))
top.add(gdstk.Reference(pat1, (16,16)))
top.add(gdstk.Reference(pat1, (13,17)))
top.add(gdstk.Reference(pat1, (15,18)))
r = gdstk.Reference(pat1, (14,15)); r.repetition = gdstk.Repetition(1, 2, v1=(0,0), v2=(0,5)); top.add(r)
top.add(gdstk.Reference(pat1, (14,20)))
top.add(gdstk.Reference(pat1, (16,26)))
r = gdstk.Reference(pat1, (21,16)); r.repetition = gdstk.Repetition(2, 1, v1=(5,0), v2=(0,0)); top.add(r)
top.add(gdstk.Reference(pat1, (22,14)))
r = gdstk.Reference(pat1, (19,15)); r.repetition = gdstk.Repetition(2, 1, v1=(5,0), v2=(0,0)); top.add(r)
r = gdstk.Reference(pat1, (21,16)); r.repetition = gdstk.Repetition(2, 1, v1=(5,0), v2=(0,0)); top.add(r)
top.add(gdstk.Reference(pat1, (23,17)))
r = gdstk.Reference(pat1, (20,18)); r.repetition = gdstk.Repetition(2, 1, v1=(5,0), v2=(0,0)); top.add(r)
r = gdstk.Reference(pat1, (22,14)); r.repetition = gdstk.Repetition(1, 2, v1=(0,0), v2=(0,5)); top.add(r)
r = gdstk.Reference(pat1, (19,15)); r.repetition = gdstk.Repetition(2, 2, v1=(5,0), v2=(0,5)); top.add(r)
top.add(gdstk.Reference(pat1, (22,19)))
r = gdstk.Reference(pat1, (19,20)); r.repetition = gdstk.Repetition(2, 1, v1=(5,0), v2=(0,0)); top.add(r)
r = gdstk.Reference(pat1, (21,26)); r.repetition = gdstk.Repetition(2, 1, v1=(5,0), v2=(0,0)); top.add(r)
top.add(gdstk.Reference(pat1, (22,24)))
r = gdstk.Reference(pat1, (19,25)); r.repetition = gdstk.Repetition(2, 1, v1=(5,0), v2=(0,0)); top.add(r)
r = gdstk.Reference(pat1, (21,26)); r.repetition = gdstk.Repetition(2, 1, v1=(5,0), v2=(0,0)); top.add(r)
top.add(gdstk.Reference(pat1, (85,3)))
top.add(gdstk.Reference(pat1, (86,1)))
r = gdstk.Reference(pat1, (86,1)); r.repetition = gdstk.Repetition(1, 2, v1=(0,0), v2=(0,5)); top.add(r)
top.add(gdstk.Reference(pat1, (88,2)))
top.add(gdstk.Reference(pat1, (85,3)))
top.add(gdstk.Reference(pat1, (87,4)))
top.add(gdstk.Reference(pat1, (89,5)))
top.add(gdstk.Reference(pat1, (86,6)))
top.add(gdstk.Reference(pat1, (88,7)))
top.add(gdstk.Reference(pat1, (87,4)))
top.add(gdstk.Reference(pat1, (89,5)))
top.add(gdstk.Reference(pat1, (86,6)))
top.add(gdstk.Reference(pat1, (86,1)))
r = gdstk.Reference(pat1, (86,1)); r.repetition = gdstk.Repetition(1, 2, v1=(0,0), v2=(0,5)); top.add(r)
top.add(gdstk.Reference(pat1, (89,5)))
top.add(gdstk.Reference(pat1, (89,5)))

lib.write_gds('TOP.gds')
